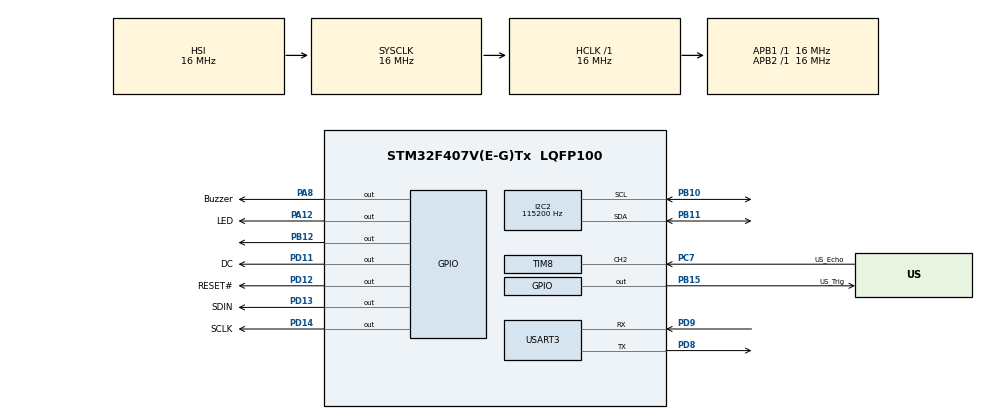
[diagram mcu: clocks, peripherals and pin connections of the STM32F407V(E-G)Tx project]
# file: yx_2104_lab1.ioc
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I2C2.ClockSpeed=115200
Mcu.Family=STM32F4
Mcu.Name=STM32F407V(E-G)Tx
Mcu.Package=LQFP100
NVIC.PriorityGroup=NVIC_PRIORITYGROUP_4
NVIC.TIM8_CC_IRQn=true\:0\:0\:false\:false\:true\:true\:true\:true
PA12.GPIO_Label=LED
PA12.Signal=GPIO_Output
PA13.Signal=SYS_JTMS-SWDIO
PA14.Signal=SYS_JTCK-SWCLK
PA8.GPIO_Label=Buzzer
PA8.Signal=GPIO_Output
PB10.Mode=I2C
PB10.Signal=I2C2_SCL
PB11.Mode=I2C
PB11.Signal=I2C2_SDA
PB12.Signal=GPIO_Output
PB15.GPIO_Label=US_Trig
PB15.Signal=GPIO_Output
PC7.GPIO_Label=US_Echo
PC7.Signal=S_TIM8_CH2
PD11.GPIO_Label=DC
PD11.Signal=GPIO_Output
PD12.GPIO_Label=RESET\#
PD12.Signal=GPIO_Output
PD13.GPIO_Label=SDIN
PD13.Signal=GPIO_Output
PD14.GPIO_Label=SCLK
PD14.Signal=GPIO_Output
PD8.Mode=Asynchronous
PD8.Signal=USART3_TX
PD9.Mode=Asynchronous
PD9.Signal=USART3_RX
ProjectManager.HeapSize=0x200
ProjectManager.StackSize=0x400
ProjectManager.TargetToolchain=STM32CubeIDE
RCC.AHBFreq_Value=16000000
RCC.APB1Freq_Value=16000000
RCC.APB2Freq_Value=16000000
RCC.CortexFreq_Value=16000000
RCC.HSE_VALUE=25000000
RCC.HSI_VALUE=16000000
RCC.LSE_VALUE=32768
RCC.SYSCLKFreq_VALUE=16000000
RCC.VCOOutputFreq_Value=192000000
SH.S_TIM8_CH2.0=TIM8_CH2,Input_Capture2_from_TI2
TIM8.Channel-Input_Capture2_from_TI2=TIM_CHANNEL_2
TIM8.ICPolarity_CH2=TIM_INPUTCHANNELPOLARITY_BOTHEDGE
USART3.VirtualMode=VM_ASYNC
VP_TIM6_VS_ClockSourceINT.Mode=Enable_Timer
VP_TIM8_VS_ClockSourceINT.Mode=Internal
board=custom

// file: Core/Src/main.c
/* USER CODE BEGIN Header */
/**
  ******************************************************************************
  * @file           : main.c
  * @brief          : Main program body
  ******************************************************************************
  * @attention
  *
  * Copyright (c) 2023 STMicroelectronics.
  * All rights reserved.
  *
  * This software is licensed under terms that can be found in the LICENSE file
  * in the root directory of this software component.
  * If no LICENSE file comes with this software, it is provided AS-IS.
  *
  ******************************************************************************
  */
/* USER CODE END Header */
#include "main.h"

/* USER CODE BEGIN Includes */
#include "oled.h"
#include <string.h>
#include <MPU6050.h>  // Include the MPU6050 driver
#include <math.h>     // Include math library for atan2 function

/* USER CODE END Includes */

 I2C_HandleTypeDef hi2c2;
TIM_HandleTypeDef htim6;
TIM_HandleTypeDef htim8;
IMU_Data imu;
UART_HandleTypeDef huart3;

/* USER CODE BEGIN PV */
volatile uint16_t tc1 = 0;   // Capture values
volatile uint16_t tc2 = 0;
volatile uint16_t echo = 0;  // Pulse width
uint32_t millisOld = 0, millisNow = 0;
float dt = 0;
float yaw = 0, pitch = 0, roll = 0;

/* USER CODE END PV */

void SystemClock_Config(void);
static void MX_GPIO_Init(void);
static void MX_USART3_UART_Init(void);
static void MX_TIM6_Init(void);
static void MX_TIM8_Init(void);
static void MX_I2C2_Init(void);
/* USER CODE BEGIN PFP */
void delay_us(uint16_t us);
uint8_t IMU_ADDR = 0x68 << 1;  // Address with AD0 low

/* USER CODE END PFP */

int main(void)
{
  /* USER CODE BEGIN 1 */
//	uint8_t sbuf[15] = "Hello World! \n\r";
//	uint8_t *OLED_buf;
//	char buf[15];
	//----Lab 2-----//
	  char sbuf[50];

//	//Lab 2//
    IMU_Data imu;
    char msg[50];

  /* USER CODE END 1 */

  /* MCU Configuration--------------------------------------------------------*/

  /* Reset of all peripherals, Initializes the Flash interface and the Systick. */
  HAL_Init();

  /* Configure the system clock */
  SystemClock_Config();

  /* Initialize all configured peripherals */
  MX_GPIO_Init();
  MX_USART3_UART_Init();
  MX_TIM6_Init();
  MX_TIM8_Init();
  MX_I2C2_Init();

  uint8_t status = IMU_Initialise(&imu, &hi2c2, &huart3);
  /* USER CODE BEGIN 2 */
//  OLED_Init();
//  OLED_ShowString(10,5, "hello");
//  OLED_Refresh_Gram();
//

  //Lab 2//
//  OLED_Init();
//  OLED_ShowString(10, 5, "Initializing...");
//  OLED_Refresh_Gram();

  //lab try 2//
  uint32_t millisOld = 0, millisNow = 0;
  float dt, pitch_acc = 0, roll_acc = 0;

  float pitch_gyro = 0, roll_gyro = 0,yaw_gyro = 0;

  /* USER CODE END 2 */

  /* Infinite loop */
  /* USER CODE BEGIN WHILE */
  while (1)
  {
	  //-----LED------
	   HAL_GPIO_WritePin(GPIOA, GPIO_PIN_12, GPIO_PIN_SET);
	   HAL_Delay(50);
	   HAL_GPIO_WritePin(GPIOA, GPIO_PIN_12, GPIO_PIN_RESET);
	   HAL_Delay(50);

	  //-----Buzzer-----
//	   HAL_GPIO_WritePin(GPIOA, GPIO_PIN_8, GPIO_PIN_SET);
//	   HAL_Delay(1000);
//	   HAL_GPIO_WritePin(GPIOA, GPIO_PIN_8, GPIO_PIN_RESET);
//	   HAL_Delay(1000);

	  //-----UART-----
//	   uint8_t sbuf[] = "Hello World.\n\r";
//	   HAL_UART_Transmit(&huart3,sbuf,sizeof(sbuf),HAL_MAX_DELAY);

//	  //---------ULTRA Sound---------
//	  //Set TRIG to low for awhile
//	  HAL_GPIO_WritePin(GPIOB, GPIO_PIN_15, 0);
//	  HAL_Delay(50);
//
//	  //send sound
//	  HAL_GPIO_WritePin(GPIOB, GPIO_PIN_15, 1);
//	  delay_us(10);
//	  HAL_GPIO_WritePin(GPIOB, GPIO_PIN_15, 0);
//	  HAL_Delay(50);
//
//	  //read echo
//	  // HAL_TIM_Base_Start(&htim6); //seems not needed as well. I dont see the purpose
//	  HAL_TIM_IC_Start_IT(&htim8, TIM_CHANNEL_2);
//	  // HAL_TIM_IC_CaptureCallback(&htim8); //Not needed as called automatically as callback
//
//	  //measure
//	  char buf1[15];
//	  char buf2[15];
//
//	  sprintf(buf1, "Echo = %5d us ", echo);
//	  OLED_ShowString(10,40, &buf1[0]);
//
//	  float speed_of_sound = 0.0343;
//	  int tester = echo * (speed_of_sound /2) ;
//	  printf("%d",tester);
//	  sprintf(buf2,"Dis = %4d cm ", tester);
//	  OLED_ShowString(10,50, &buf2[0]);
//	  OLED_Refresh_Gram();

	   // LAb 2 lowkey work pundai//
      /*IMU_AccelRead(&imu);
      IMU_GyroRead(&imu);

       // Format and transmit the accelerometer data
       for (int i = 0; i < 3; i++) {
    	   sprintf(sbuf, "Accel %d: %5.2f\r\n", i, imu.acc[i]);
           HAL_UART_Transmit(&huart3, (uint8_t*)sbuf, strlen(sbuf), HAL_MAX_DELAY);
       }

       // Format and transmit the gyroscope data
      *for (int i = 0; i < 3; i++) {
    	   sprintf(sbuf, "Gyro %d: %5.2f\r\n", i, imu.gyro[i]);
          HAL_UART_Transmit(&huart3, (uint8_t*)sbuf, strlen(sbuf), HAL_MAX_DELAY);
      }
       HAL_Delay(500);*/

	   //lab 2 sending raw data works//

	   /* millisNow = HAL_GetTick();
	    dt = (millisNow - millisOld) * 0.001;  // Calculate time elapsed in seconds
	    millisOld = millisNow;

	    IMU_AccelRead(&imu);  // Read accelerometer data
	    IMU_GyroRead(&imu);   // Read gyroscope data

	    // Print raw sensor data
	    sprintf(sbuf, "%5.2f, %5.2f, %5.2f, %5.2f, %5.2f, %5.2f\r\n",
	            imu.acc[0], imu.acc[1], imu.acc[2], imu.gyro[0], imu.gyro[1], imu.gyro[2]);
	    HAL_UART_Transmit(&huart3, (uint8_t*)sbuf, strlen(sbuf), HAL_MAX_DELAY);

	    // Calculate angles
	    roll = atan2(imu.acc[1], imu.acc[2]) * 180.0 / M_PI;
	    pitch = atan2(-imu.acc[0], sqrt(imu.acc[1]*imu.acc[1] + imu.acc[2]*imu.acc[2])) * 180.0 / M_PI;

	    yaw += imu.gyro[0] * dt;
	    pitch += imu.gyro[1] * dt;
	    roll += imu.gyro[2] * dt;

	    // Print calculated angles
	    sprintf(sbuf, "%5.2f, %5.2f, %5.2f\r\n", pitch, roll, yaw);
       HAL_UART_Transmit(&huart3, (uint8_t*)sbuf, strlen(sbuf), HAL_MAX_DELAY);

	    HAL_Delay(100);  // Adjust delay as needed*/

	    //lab 2 only angles WORKING!!!!//

	    // Get current time
	    uint32_t millisNow = HAL_GetTick();
	    float dt = (millisNow - millisOld) * 0.001f;  // Calculate time elapsed in seconds
	    millisOld = millisNow;
       // Read sensor data
	    IMU_AccelRead(&imu);
	    IMU_GyroRead(&imu);

	    // Calculate angles from accelerometer data
	    roll_acc = atan2 (imu.acc[0]/9.8, imu.acc[2]/9.8) *(180/M_PI);
	    pitch_acc = atan2(imu.acc[1]/9.8, imu.acc[2]/9.8)*(180/M_PI);

	    sprintf(sbuf, "%.2f, %.2f\r\n", pitch_acc, roll_acc);
	    HAL_UART_Transmit(&huart3, (uint8_t*)sbuf, strlen(sbuf), HAL_MAX_DELAY);

	    //Gyroscope
	    //roll_gyro = roll_gyro-imu.gyro[1]*dt;
	    //pitch_gyro = pitch_gyro-imu.gyro[0]*dt;
	    //yaw_gyro = yaw_gyro-imu.gyro[2]*dt;

	    //sprintf(sbuf, "%.2f, %.2f, %.2f\r\n", pitch_gyro, roll_gyro,yaw_gyro);
	    //HAL_UART_Transmit(&huart3, (uint8_t*)sbuf, strlen(sbuf), HAL_MAX_DELAY);

    /* USER CODE END WHILE */

  }
}

void SystemClock_Config(void)
{
  RCC_OscInitTypeDef RCC_OscInitStruct = {0};
  RCC_ClkInitTypeDef RCC_ClkInitStruct = {0};

  /** Configure the main internal regulator output voltage
  */
  __HAL_RCC_PWR_CLK_ENABLE();
  __HAL_PWR_VOLTAGESCALING_CONFIG(PWR_REGULATOR_VOLTAGE_SCALE1);

  /** Initializes the RCC Oscillators according to the specified parameters
  * in the RCC_OscInitTypeDef structure.
  */
  RCC_OscInitStruct.OscillatorType = RCC_OSCILLATORTYPE_HSI;
  RCC_OscInitStruct.HSIState = RCC_HSI_ON;
  RCC_OscInitStruct.HSICalibrationValue = RCC_HSICALIBRATION_DEFAULT;
  RCC_OscInitStruct.PLL.PLLState = RCC_PLL_NONE;
  if (HAL_RCC_OscConfig(&RCC_OscInitStruct) != HAL_OK)
  {
    Error_Handler();
  }

  /** Initializes the CPU, AHB and APB buses clocks
  */
  RCC_ClkInitStruct.ClockType = RCC_CLOCKTYPE_HCLK|RCC_CLOCKTYPE_SYSCLK
                              |RCC_CLOCKTYPE_PCLK1|RCC_CLOCKTYPE_PCLK2;
  RCC_ClkInitStruct.SYSCLKSource = RCC_SYSCLKSOURCE_HSI;
  RCC_ClkInitStruct.AHBCLKDivider = RCC_SYSCLK_DIV1;
  RCC_ClkInitStruct.APB1CLKDivider = RCC_HCLK_DIV1;
  RCC_ClkInitStruct.APB2CLKDivider = RCC_HCLK_DIV1;

  if (HAL_RCC_ClockConfig(&RCC_ClkInitStruct, FLASH_LATENCY_0) != HAL_OK)
  {
    Error_Handler();
  }
}

static void MX_I2C2_Init(void)
{

  hi2c2.Instance = I2C2;
  hi2c2.Init.ClockSpeed = 100000;
  hi2c2.Init.DutyCycle = I2C_DUTYCYCLE_2;
  hi2c2.Init.OwnAddress1 = 0;
  hi2c2.Init.AddressingMode = I2C_ADDRESSINGMODE_7BIT;
  hi2c2.Init.DualAddressMode = I2C_DUALADDRESS_DISABLE;
  hi2c2.Init.OwnAddress2 = 0;
  hi2c2.Init.GeneralCallMode = I2C_GENERALCALL_DISABLE;
  hi2c2.Init.NoStretchMode = I2C_NOSTRETCH_DISABLE;
  if (HAL_I2C_Init(&hi2c2) != HAL_OK)
  {
    Error_Handler();
  }

}

static void MX_TIM6_Init(void)
{

  TIM_MasterConfigTypeDef sMasterConfig = {0};

  htim6.Instance = TIM6;
  htim6.Init.Prescaler = 0;
  htim6.Init.CounterMode = TIM_COUNTERMODE_UP;
  htim6.Init.Period = 65535;
  htim6.Init.AutoReloadPreload = TIM_AUTORELOAD_PRELOAD_DISABLE;
  if (HAL_TIM_Base_Init(&htim6) != HAL_OK)
  {
    Error_Handler();
  }
  sMasterConfig.MasterOutputTrigger = TIM_TRGO_RESET;
  sMasterConfig.MasterSlaveMode = TIM_MASTERSLAVEMODE_DISABLE;
  if (HAL_TIMEx_MasterConfigSynchronization(&htim6, &sMasterConfig) != HAL_OK)
  {
    Error_Handler();
  }

}

static void MX_TIM8_Init(void)
{

  TIM_ClockConfigTypeDef sClockSourceConfig = {0};
  TIM_MasterConfigTypeDef sMasterConfig = {0};
  TIM_IC_InitTypeDef sConfigIC = {0};

  htim8.Instance = TIM8;
  htim8.Init.Prescaler = 0;
  htim8.Init.CounterMode = TIM_COUNTERMODE_UP;
  htim8.Init.Period = 65535;
  htim8.Init.ClockDivision = TIM_CLOCKDIVISION_DIV1;
  htim8.Init.RepetitionCounter = 0;
  htim8.Init.AutoReloadPreload = TIM_AUTORELOAD_PRELOAD_DISABLE;
  if (HAL_TIM_Base_Init(&htim8) != HAL_OK)
  {
    Error_Handler();
  }
  sClockSourceConfig.ClockSource = TIM_CLOCKSOURCE_INTERNAL;
  if (HAL_TIM_ConfigClockSource(&htim8, &sClockSourceConfig) != HAL_OK)
  {
    Error_Handler();
  }
  if (HAL_TIM_IC_Init(&htim8) != HAL_OK)
  {
    Error_Handler();
  }
  sMasterConfig.MasterOutputTrigger = TIM_TRGO_RESET;
  sMasterConfig.MasterSlaveMode = TIM_MASTERSLAVEMODE_DISABLE;
  if (HAL_TIMEx_MasterConfigSynchronization(&htim8, &sMasterConfig) != HAL_OK)
  {
    Error_Handler();
  }
  sConfigIC.ICPolarity = TIM_INPUTCHANNELPOLARITY_BOTHEDGE;
  sConfigIC.ICSelection = TIM_ICSELECTION_DIRECTTI;
  sConfigIC.ICPrescaler = TIM_ICPSC_DIV1;
  sConfigIC.ICFilter = 0;
  if (HAL_TIM_IC_ConfigChannel(&htim8, &sConfigIC, TIM_CHANNEL_2) != HAL_OK)
  {
    Error_Handler();
  }

}

static void MX_USART3_UART_Init(void)
{

  huart3.Instance = USART3;
  huart3.Init.BaudRate = 115200;
  huart3.Init.WordLength = UART_WORDLENGTH_8B;
  huart3.Init.StopBits = UART_STOPBITS_1;
  huart3.Init.Parity = UART_PARITY_NONE;
  huart3.Init.Mode = UART_MODE_TX_RX;
  huart3.Init.HwFlowCtl = UART_HWCONTROL_NONE;
  huart3.Init.OverSampling = UART_OVERSAMPLING_16;
  if (HAL_UART_Init(&huart3) != HAL_OK)
  {
    Error_Handler();
  }

}

static void MX_GPIO_Init(void)
{
  GPIO_InitTypeDef GPIO_InitStruct = {0};

  /* GPIO Ports Clock Enable */
  __HAL_RCC_GPIOB_CLK_ENABLE();
  __HAL_RCC_GPIOD_CLK_ENABLE();
  __HAL_RCC_GPIOC_CLK_ENABLE();
  __HAL_RCC_GPIOA_CLK_ENABLE();

  /*Configure GPIO pin Output Level */
  HAL_GPIO_WritePin(GPIOB, GPIO_PIN_12|US_Trig_Pin, GPIO_PIN_RESET);

  /*Configure GPIO pin Output Level */
  HAL_GPIO_WritePin(GPIOD, DC_Pin|RESET__Pin|SDIN_Pin|SCLK_Pin, GPIO_PIN_RESET);

  /*Configure GPIO pin Output Level */
  HAL_GPIO_WritePin(GPIOA, Buzzer_Pin|LED_Pin, GPIO_PIN_RESET);

  /*Configure GPIO pins : PB12 US_Trig_Pin */
  GPIO_InitStruct.Pin = GPIO_PIN_12|US_Trig_Pin;
  GPIO_InitStruct.Mode = GPIO_MODE_OUTPUT_PP;
  GPIO_InitStruct.Pull = GPIO_NOPULL;
  GPIO_InitStruct.Speed = GPIO_SPEED_FREQ_LOW;
  HAL_GPIO_Init(GPIOB, &GPIO_InitStruct);

  /*Configure GPIO pins : DC_Pin RESET__Pin SDIN_Pin SCLK_Pin */
  GPIO_InitStruct.Pin = DC_Pin|RESET__Pin|SDIN_Pin|SCLK_Pin;
  GPIO_InitStruct.Mode = GPIO_MODE_OUTPUT_PP;
  GPIO_InitStruct.Pull = GPIO_NOPULL;
  GPIO_InitStruct.Speed = GPIO_SPEED_FREQ_LOW;
  HAL_GPIO_Init(GPIOD, &GPIO_InitStruct);

  /*Configure GPIO pins : Buzzer_Pin LED_Pin */
  GPIO_InitStruct.Pin = Buzzer_Pin|LED_Pin;
  GPIO_InitStruct.Mode = GPIO_MODE_OUTPUT_PP;
  GPIO_InitStruct.Pull = GPIO_NOPULL;
  GPIO_InitStruct.Speed = GPIO_SPEED_FREQ_LOW;
  HAL_GPIO_Init(GPIOA, &GPIO_InitStruct);

}

/* USER CODE BEGIN 4 */
void delay_us(uint16_t us){
	HAL_TIM_Base_Start(&htim6);
	__HAL_TIM_SET_COUNTER(&htim6, 0);

	while(__HAL_TIM_GET_COUNTER(&htim6) < us);
}

void HAL_TIM_IC_CaptureCallback(TIM_HandleTypeDef *htim) {
    if (htim->Instance == TIM8) {
        GPIO_PinState pinState = HAL_GPIO_ReadPin(GPIOC, GPIO_PIN_7);

        if (pinState == GPIO_PIN_SET) {  // Positive edge
            tc1 = HAL_TIM_ReadCapturedValue(htim, TIM_CHANNEL_2);  // Capture the value
        } else if (pinState == GPIO_PIN_RESET) {  // Negative edge
            tc2 = HAL_TIM_ReadCapturedValue(htim, TIM_CHANNEL_2);  // Capture the value

            // Calculate the pulse width
            if (tc2 >= tc1) {
                echo = tc2 - tc1;
            } else {
                echo = (65536 - tc1) + tc2;  // Handle overflow
            }
        }
    }
}

/* USER CODE END 4 */

void Error_Handler(void)
{
  __disable_irq();
  while (1)
  {
  }
}
